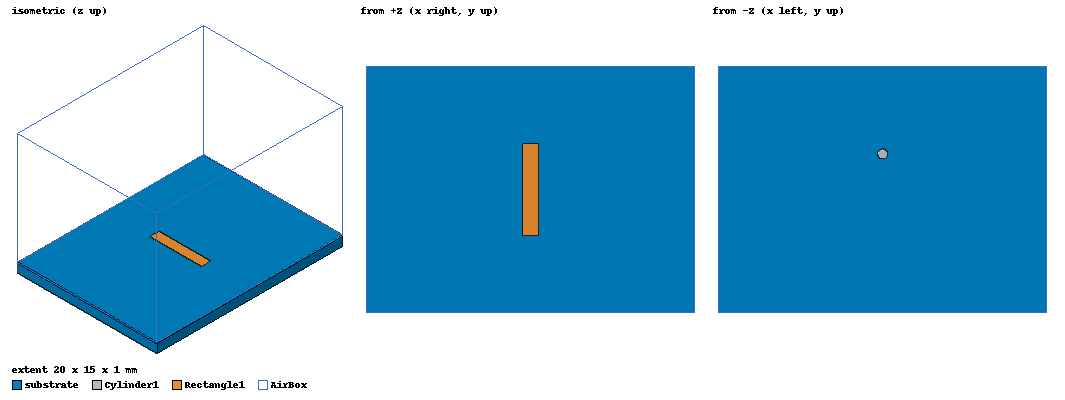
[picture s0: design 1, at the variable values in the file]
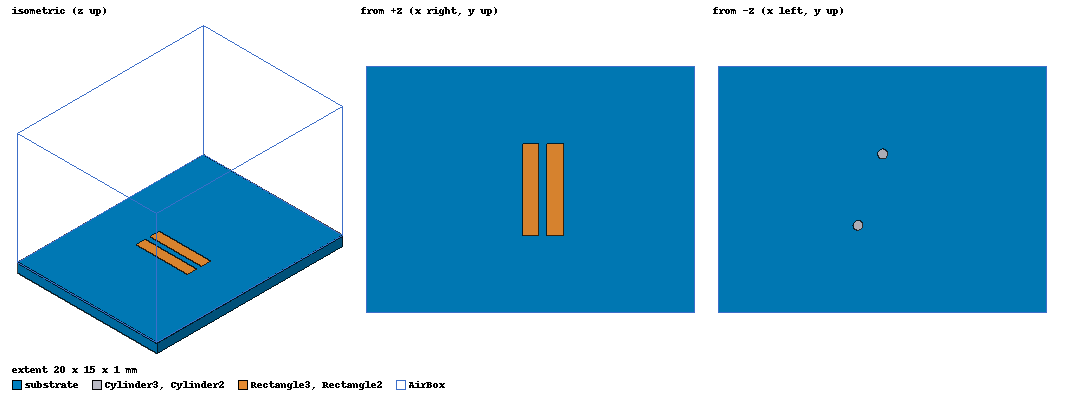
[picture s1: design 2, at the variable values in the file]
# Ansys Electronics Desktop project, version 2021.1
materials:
  vacuum: permittivity=1
  Al2_O3_ceramic: permittivity=9.8
  pec: conductivity=1e+30

design 1 (HFSS, Eigenmode, model units mm)
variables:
  sx = 20mm
  sy = 15mm
  sh = 1mm
  s3dx = 1mm
  s3dy = 5.55mm
  rr = 0.3mm
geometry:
  substrate [Al2_O3_ceramic] = box(corner=(-sx/2, -sy/2, 0mm), size=(sx, sy, -sh))
  AirBox [vacuum] = box(corner=(-sx/2, -sy/2, 0mm), size=(sx, sy, 12*sh))
  Rectangle1 = rectangle(corner=(-s3dx/2, -s3dy/2, 0mm), x_size=s3dx, y_size=s3dy)
  Cylinder1 [pec] = cylinder(axis=Z, base_centre=(0mm, s3dy/2-2*rr, 0mm), radius=rr, height=-sh)
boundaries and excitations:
  PerfE1: Perfect E Objects=Rectangle1
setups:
  Setup1: HfssEigen MinimumFrequency=1GHz NumModes=2 MaxDeltaFreq=1 ConvergeOnRealFreq=false MaximumPasses=20 MinimumPasses=1 MinimumConvergedPasses=1 PercentRefinement=30 BasisOrder=1
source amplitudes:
  #-10:1: 1 0deg
  #-10:2: 0 0deg
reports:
   Table 1: re(Mode(1))/1e9 vs sx on Setup1 : LastAdaptive

design 2 (HFSS, Eigenmode, model units mm)
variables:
  sx = 20mm
  sy = 15mm
  sh = 1mm
  s3dx = 1mm
  s3dy = 5.55mm
  rr = 0.3mm
  s2dx = 1mm
  s2dy = 5.55mm
  d23 = 1.5mm
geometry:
  substrate [Al2_O3_ceramic] = box(corner=(-sx/2, -sy/2, 0mm), size=(sx, sy, -sh))
  AirBox [vacuum] = box(corner=(-sx/2, -sy/2, 0mm), size=(sx, sy, 12*sh))
  Rectangle3 = rectangle(corner=(-s3dx/2, -s3dy/2, 0mm), x_size=s3dx, y_size=s3dy)
  Cylinder3 [pec] = cylinder(axis=Z, base_centre=(0mm, s3dy/2-2*rr, 0mm), radius=rr, height=-sh)
  Rectangle2 = rectangle(corner=(-s2dx/2, -s2dy/2, 0mm), x_size=s2dx, y_size=s2dy)
  Cylinder2 [pec] = cylinder(axis=Z, base_centre=(0mm, s3dy/2-2*rr, 0mm), radius=rr, height=-sh)
  [Rectangle2, Cylinder2].move(d23, 0mm, 0mm)
  [Cylinder2, Rectangle2].mirror(point=(0mm, 0mm, 0mm), normal=(0mm, 1mm, 0mm))
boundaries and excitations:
  PerfE1: Perfect E Objects=Rectangle3
  PerfE2: Perfect E Objects=Rectangle2
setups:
  Setup1: HfssEigen MinimumFrequency=1GHz NumModes=2 MaxDeltaFreq=1 ConvergeOnRealFreq=false MaximumPasses=20 MinimumPasses=1 MinimumConvergedPasses=1 PercentRefinement=30 BasisOrder=1
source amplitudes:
  #-10:1: 1 0deg
  #-10:2: 0 0deg
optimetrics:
  ParametricSetup1: Parametric Sim._Setups=[Setup1]
    sweep d23: LIN 1.5mm 3mm 0.2mm
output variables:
  k = (re(Mode(2))^2-re(Mode(1))^2)/(re(Mode(2))^2+re(Mode(1))^2)
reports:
  Output Variables Plot 1: k vs sx on Setup1 : LastAdaptive
  Output Variables Plot 2: k vs d23 on Setup1 : LastAdaptive; markers MY1 at y=0.167944
